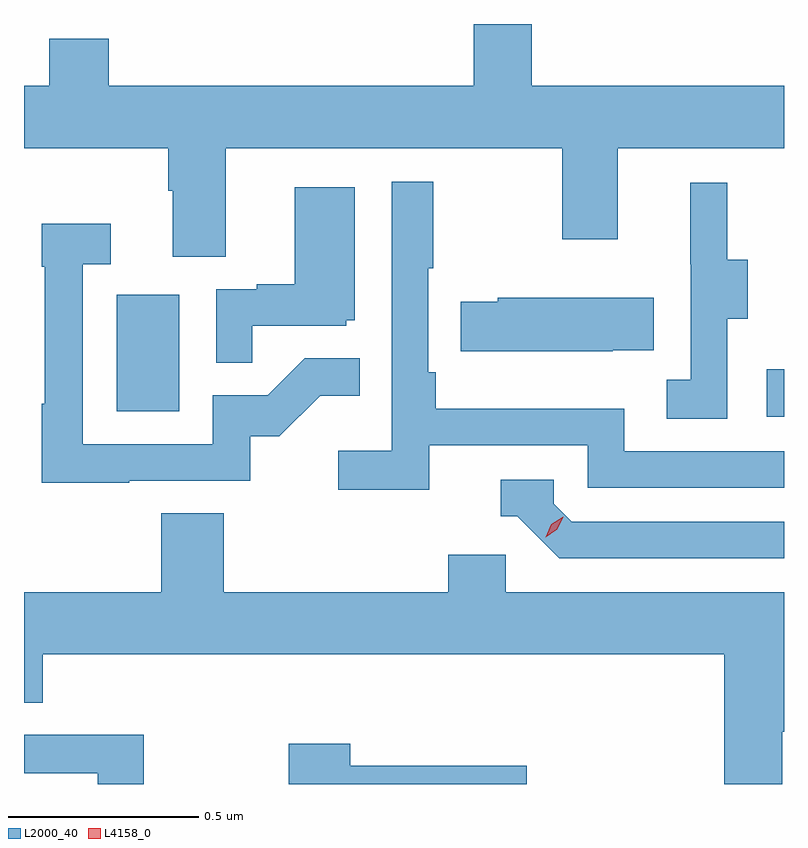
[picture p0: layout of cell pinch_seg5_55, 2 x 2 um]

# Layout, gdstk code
import gdstk
lib = gdstk.Library(unit=1e-6, precision=1e-09)
def R(c, l, rs):  # rectangles x0, y0, x1, y1
    for r in rs: c.add(gdstk.rectangle(r[:2], r[2:], *l))
def P(c, l, *ps):  # polygons
    for p in ps: c.add(gdstk.Polygon(p, *l))
L2000_40 = (2000, 40)
L4158_0 = (4158, 0)

pinch_seg5_55 = lib.new_cell('pinch_seg5_55')
R(pinch_seg5_55, L2000_40, [(1071.903,898.677,1071.948,898.802), (1070.192,898.692,1070.356,898.999)])
P(pinch_seg5_55, L2000_40, [(1070.479,899.384),(1071.364,899.384),(1071.364,899.145),(1071.511,899.145),(1071.511,899.384),(1071.948,899.384),(1071.948,899.548),(1071.284,899.548),(1071.284,899.711),(1071.131,899.711),(1071.131,899.548),(1070.171,899.548),(1070.171,899.672),(1070.015,899.672),(1070.015,899.548),(1069.948,899.548),(1069.948,899.384),(1070.327,899.384),(1070.327,899.272),(1070.339,899.272),(1070.339,899.098),(1070.479,899.098)],
  [(1071.014,898.602),(1071.432,898.602),(1071.432,898.491),(1071.948,898.491),(1071.948,898.587),(1071.528,898.587),(1071.528,898.699),(1071.032,898.699),(1071.032,898.795),(1071.012,898.795),(1071.012,899.068),(1071.025,899.068),(1071.025,899.296),(1070.916,899.296),(1070.916,898.588),(1070.775,898.588),(1070.775,898.486),(1071.014,898.486)],
  [(1071.798,898.936),(1071.853,898.936),(1071.853,899.091),(1071.799,899.091),(1071.799,899.293),(1071.701,899.293),(1071.701,899.079),(1071.702,899.079),(1071.702,898.775),(1071.639,898.775),(1071.639,898.672),(1071.798,898.672)],
  [(1070.549,898.917),(1070.796,898.917),(1070.796,898.932),(1070.818,898.932),(1070.818,899.281),(1070.66,899.281),(1070.66,899.026),(1070.561,899.026),(1070.561,899.013),(1070.454,899.013),(1070.454,898.819),(1070.549,898.819)],
  [(1070.225,898.509),(1070.544,898.509),(1070.544,898.626),(1070.62,898.626),(1070.727,898.733),(1070.831,898.733),(1070.831,898.832),(1070.687,898.832),(1070.589,898.734),(1070.445,898.734),(1070.445,898.605),(1070.103,898.605),(1070.103,899.079),(1070.176,899.079),(1070.176,899.185),(1069.995,899.185),(1069.995,899.072),(1070.002,899.072),(1070.002,898.712),(1069.995,898.712),(1069.995,898.504),(1070.225,898.504)],
  [(1071.497,898.853),(1071.605,898.853),(1071.605,898.99),(1071.195,898.99),(1071.195,898.98),(1071.097,898.98),(1071.097,898.85),(1071.497,898.85)],
  [(1071.948,898.401),(1071.39,898.401),(1071.342,898.449),(1071.342,898.512),(1071.203,898.512),(1071.203,898.416),(1071.246,898.416),(1071.357,898.305),(1071.948,898.305)],
  [(1071.943,897.848),(1071.948,897.848),(1071.948,898.216),(1071.216,898.216),(1071.216,898.314),(1071.065,898.314),(1071.065,898.216),(1070.474,898.216),(1070.474,898.424),(1070.309,898.424),(1070.309,898.216),(1069.948,898.216),(1069.948,897.925),(1069.997,897.925),(1069.997,898.052),(1071.791,898.052),(1071.791,897.711),(1071.943,897.711)],
  [(1070.263,897.84),(1069.948,897.84),(1069.948,897.739),(1070.142,897.739),(1070.142,897.711),(1070.263,897.711)],
  [(1071.271,897.759),(1070.806,897.759),(1070.806,897.817),(1070.645,897.817),(1070.645,897.711),(1071.271,897.711)])
P(pinch_seg5_55, L4158_0, [(1071.321,898.361),(1071.321,898.361),(1071.336,898.394),(1071.367,898.414),(1071.367,898.414),(1071.367,898.414),(1071.351,898.381),(1071.321,898.361)])

lib.write_gds('pinch_seg5_55.gds')
